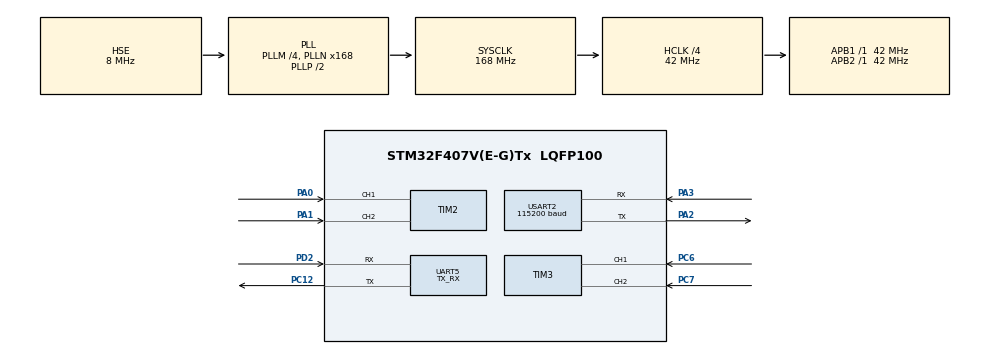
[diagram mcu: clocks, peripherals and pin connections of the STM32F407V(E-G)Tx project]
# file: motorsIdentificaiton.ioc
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Mcu.Family=STM32F4
Mcu.Name=STM32F407V(E-G)Tx
Mcu.Package=LQFP100
NVIC.PriorityGroup=NVIC_PRIORITYGROUP_4
NVIC.TIM8_TRG_COM_TIM14_IRQn=true\:0\:0\:false\:false\:true\:true\:true\:true
NVIC.TIM8_UP_TIM13_IRQn=true\:0\:0\:false\:false\:true\:true\:true\:true
PA0-WKUP.Signal=S_TIM2_CH1_ETR
PA1.Signal=S_TIM2_CH2
PA2.Mode=Asynchronous
PA2.Signal=USART2_TX
PA3.Mode=Asynchronous
PA3.Signal=USART2_RX
PC12.Mode=Asynchronous
PC12.Signal=UART5_TX
PC6.Signal=S_TIM3_CH1
PC7.Signal=S_TIM3_CH2
PD2.Mode=Asynchronous
PD2.Signal=UART5_RX
PH0-OSC_IN.Mode=HSE-External-Oscillator
PH0-OSC_IN.Signal=RCC_OSC_IN
PH1-OSC_OUT.Mode=HSE-External-Oscillator
PH1-OSC_OUT.Signal=RCC_OSC_OUT
ProjectManager.HeapSize=0x200
ProjectManager.StackSize=0x400
ProjectManager.TargetToolchain=STM32CubeIDE
RCC.48MHZClocksFreq_Value=84000000
RCC.AHBCLKDivider=RCC_SYSCLK_DIV4
RCC.AHBFreq_Value=42000000
RCC.APB1Freq_Value=42000000
RCC.APB1TimFreq_Value=42000000
RCC.APB2Freq_Value=42000000
RCC.APB2TimFreq_Value=42000000
RCC.CortexFreq_Value=42000000
RCC.HCLKFreq_Value=42000000
RCC.HSE_VALUE=8000000
RCC.HSI_VALUE=16000000
RCC.LSE_VALUE=32768
RCC.PLLM=4
RCC.PLLN=168
RCC.PLLSourceVirtual=RCC_PLLSOURCE_HSE
RCC.SYSCLKFreq_VALUE=168000000
RCC.SYSCLKSource=RCC_SYSCLKSOURCE_PLLCLK
RCC.VCOOutputFreq_Value=336000000
SH.S_TIM2_CH1_ETR.0=TIM2_CH1,Encoder_Interface
SH.S_TIM2_CH2.0=TIM2_CH2,Encoder_Interface
SH.S_TIM3_CH1.0=TIM3_CH1,Encoder_Interface
SH.S_TIM3_CH2.0=TIM3_CH2,Encoder_Interface
TIM13.Period=3000
TIM13.Prescaler=42000
TIM14.Period=2000
TIM14.Prescaler=42
TIM2.EncoderMode=TIM_ENCODERMODE_TI12
TIM3.EncoderMode=TIM_ENCODERMODE_TI12
TIM5.CounterMode=TIM_COUNTERMODE_DOWN
TIM5.Prescaler=42
TIM6.Period=65535
TIM6.Prescaler=42
TIM6.TIM_MasterOutputTrigger=TIM_TRGO_UPDATE
UART5.Mode=MODE_TX_RX
UART5.VirtualMode=Asynchronous
USART2.BaudRate=115200
USART2.VirtualMode=VM_ASYNC
VP_TIM13_VS_ClockSourceINT.Mode=Enable_Timer
VP_TIM14_VS_ClockSourceINT.Mode=Enable_Timer
VP_TIM5_VS_ClockSourceINT.Mode=Internal
VP_TIM6_VS_ClockSourceINT.Mode=Enable_Timer
board=custom

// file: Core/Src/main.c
/* USER CODE BEGIN Header */
/**
  ******************************************************************************
  * @file           : main.c
  * @brief          : Main program body
  ******************************************************************************
  * @attention
  *
  * Copyright (c) 2025 STMicroelectronics.
  * All rights reserved.
  *
  * This software is licensed under terms that can be found in the LICENSE file
  * in the root directory of this software component.
  * If no LICENSE file comes with this software, it is provided AS-IS.
  *
  ******************************************************************************
  */
/* USER CODE END Header */
#include "main.h"

/* USER CODE BEGIN Includes */
#include "encoders.h"
#include "qik_2s12v10_lib.h"

/* USER CODE END Includes */

TIM_HandleTypeDef htim2;
TIM_HandleTypeDef htim3;
TIM_HandleTypeDef htim5;
TIM_HandleTypeDef htim6;
TIM_HandleTypeDef htim13;
TIM_HandleTypeDef htim14;

UART_HandleTypeDef huart5;
UART_HandleTypeDef huart2;

/* USER CODE BEGIN PV */
uint8_t dirL = 0, dirR = 0;
//float encoderLvalues[10];
//float encoderRvalues[10];
//float temp, lSum=0, rSum=0, lSpeed, rSpeed;
//float integralL = 0, integralR = 0, previousLSpeed= 0, previousRSpeed=0;
int8_t leftCtrl = 0, rightCtrl = 0;
float fLCtrl = 0.0, fRCtrl = 0.0;
uint8_t Sspeed = 0;
/* USER CODE END PV */

void SystemClock_Config(void);
static void MX_GPIO_Init(void);
static void MX_TIM2_Init(void);
static void MX_TIM3_Init(void);
static void MX_TIM14_Init(void);
static void MX_UART5_Init(void);
static void MX_USART2_UART_Init(void);
static void MX_TIM5_Init(void);
static void MX_TIM6_Init(void);
static void MX_TIM13_Init(void);
/* USER CODE BEGIN PFP */
void statSpeed();
void timeResponse();
/* USER CODE END PFP */

int main(void)
{

  /* MCU Configuration--------------------------------------------------------*/

  /* Reset of all peripherals, Initializes the Flash interface and the Systick. */
  HAL_Init();

  /* Configure the system clock */
  SystemClock_Config();

  /* Initialize all configured peripherals */
  MX_GPIO_Init();
  MX_TIM2_Init();
  MX_TIM3_Init();
  MX_TIM14_Init();
  MX_UART5_Init();
  MX_USART2_UART_Init();
  MX_TIM5_Init();
  MX_TIM6_Init();
  MX_TIM13_Init();
  /* USER CODE BEGIN 2 */

  HAL_TIM_Encoder_Start(&htim2, TIM_CHANNEL_1);
  HAL_TIM_Encoder_Start(&htim2, TIM_CHANNEL_2);

  HAL_TIM_Encoder_Start(&htim3, TIM_CHANNEL_1);
  HAL_TIM_Encoder_Start(&htim3, TIM_CHANNEL_2);

  HAL_TIM_Base_Start_IT(&htim14);
  HAL_TIM_Base_Start_IT(&htim13);

  IIR3_Init(&lFilter, b, a);
  IIR3_Init(&rFilter, b, a);

  /* USER CODE END 2 */

  /* Infinite loop */
  while (1)
  {

  }
}

void SystemClock_Config(void)
{
  RCC_OscInitTypeDef RCC_OscInitStruct = {0};
  RCC_ClkInitTypeDef RCC_ClkInitStruct = {0};

  /** Configure the main internal regulator output voltage
  */
  __HAL_RCC_PWR_CLK_ENABLE();
  __HAL_PWR_VOLTAGESCALING_CONFIG(PWR_REGULATOR_VOLTAGE_SCALE1);

  /** Initializes the RCC Oscillators according to the specified parameters
  * in the RCC_OscInitTypeDef structure.
  */
  RCC_OscInitStruct.OscillatorType = RCC_OSCILLATORTYPE_HSE;
  RCC_OscInitStruct.HSEState = RCC_HSE_ON;
  RCC_OscInitStruct.PLL.PLLState = RCC_PLL_ON;
  RCC_OscInitStruct.PLL.PLLSource = RCC_PLLSOURCE_HSE;
  RCC_OscInitStruct.PLL.PLLM = 4;
  RCC_OscInitStruct.PLL.PLLN = 168;
  RCC_OscInitStruct.PLL.PLLP = RCC_PLLP_DIV2;
  RCC_OscInitStruct.PLL.PLLQ = 4;
  if (HAL_RCC_OscConfig(&RCC_OscInitStruct) != HAL_OK)
  {
    Error_Handler();
  }

  /** Initializes the CPU, AHB and APB buses clocks
  */
  RCC_ClkInitStruct.ClockType = RCC_CLOCKTYPE_HCLK|RCC_CLOCKTYPE_SYSCLK
                              |RCC_CLOCKTYPE_PCLK1|RCC_CLOCKTYPE_PCLK2;
  RCC_ClkInitStruct.SYSCLKSource = RCC_SYSCLKSOURCE_PLLCLK;
  RCC_ClkInitStruct.AHBCLKDivider = RCC_SYSCLK_DIV4;
  RCC_ClkInitStruct.APB1CLKDivider = RCC_HCLK_DIV1;
  RCC_ClkInitStruct.APB2CLKDivider = RCC_HCLK_DIV1;

  if (HAL_RCC_ClockConfig(&RCC_ClkInitStruct, FLASH_LATENCY_1) != HAL_OK)
  {
    Error_Handler();
  }
}

static void MX_TIM2_Init(void)
{

  TIM_Encoder_InitTypeDef sConfig = {0};
  TIM_MasterConfigTypeDef sMasterConfig = {0};

  htim2.Instance = TIM2;
  htim2.Init.Prescaler = 0;
  htim2.Init.CounterMode = TIM_COUNTERMODE_UP;
  htim2.Init.Period = 4294967295;
  htim2.Init.ClockDivision = TIM_CLOCKDIVISION_DIV1;
  htim2.Init.AutoReloadPreload = TIM_AUTORELOAD_PRELOAD_DISABLE;
  sConfig.EncoderMode = TIM_ENCODERMODE_TI12;
  sConfig.IC1Polarity = TIM_ICPOLARITY_RISING;
  sConfig.IC1Selection = TIM_ICSELECTION_DIRECTTI;
  sConfig.IC1Prescaler = TIM_ICPSC_DIV1;
  sConfig.IC1Filter = 0;
  sConfig.IC2Polarity = TIM_ICPOLARITY_RISING;
  sConfig.IC2Selection = TIM_ICSELECTION_DIRECTTI;
  sConfig.IC2Prescaler = TIM_ICPSC_DIV1;
  sConfig.IC2Filter = 0;
  if (HAL_TIM_Encoder_Init(&htim2, &sConfig) != HAL_OK)
  {
    Error_Handler();
  }
  sMasterConfig.MasterOutputTrigger = TIM_TRGO_RESET;
  sMasterConfig.MasterSlaveMode = TIM_MASTERSLAVEMODE_DISABLE;
  if (HAL_TIMEx_MasterConfigSynchronization(&htim2, &sMasterConfig) != HAL_OK)
  {
    Error_Handler();
  }

}

static void MX_TIM3_Init(void)
{

  TIM_Encoder_InitTypeDef sConfig = {0};
  TIM_MasterConfigTypeDef sMasterConfig = {0};

  htim3.Instance = TIM3;
  htim3.Init.Prescaler = 0;
  htim3.Init.CounterMode = TIM_COUNTERMODE_UP;
  htim3.Init.Period = 65535;
  htim3.Init.ClockDivision = TIM_CLOCKDIVISION_DIV1;
  htim3.Init.AutoReloadPreload = TIM_AUTORELOAD_PRELOAD_DISABLE;
  sConfig.EncoderMode = TIM_ENCODERMODE_TI12;
  sConfig.IC1Polarity = TIM_ICPOLARITY_RISING;
  sConfig.IC1Selection = TIM_ICSELECTION_DIRECTTI;
  sConfig.IC1Prescaler = TIM_ICPSC_DIV1;
  sConfig.IC1Filter = 0;
  sConfig.IC2Polarity = TIM_ICPOLARITY_RISING;
  sConfig.IC2Selection = TIM_ICSELECTION_DIRECTTI;
  sConfig.IC2Prescaler = TIM_ICPSC_DIV1;
  sConfig.IC2Filter = 0;
  if (HAL_TIM_Encoder_Init(&htim3, &sConfig) != HAL_OK)
  {
    Error_Handler();
  }
  sMasterConfig.MasterOutputTrigger = TIM_TRGO_RESET;
  sMasterConfig.MasterSlaveMode = TIM_MASTERSLAVEMODE_DISABLE;
  if (HAL_TIMEx_MasterConfigSynchronization(&htim3, &sMasterConfig) != HAL_OK)
  {
    Error_Handler();
  }

}

static void MX_TIM5_Init(void)
{

  TIM_ClockConfigTypeDef sClockSourceConfig = {0};
  TIM_MasterConfigTypeDef sMasterConfig = {0};

  htim5.Instance = TIM5;
  htim5.Init.Prescaler = 42;
  htim5.Init.CounterMode = TIM_COUNTERMODE_DOWN;
  htim5.Init.Period = 4294967295;
  htim5.Init.ClockDivision = TIM_CLOCKDIVISION_DIV1;
  htim5.Init.AutoReloadPreload = TIM_AUTORELOAD_PRELOAD_DISABLE;
  if (HAL_TIM_Base_Init(&htim5) != HAL_OK)
  {
    Error_Handler();
  }
  sClockSourceConfig.ClockSource = TIM_CLOCKSOURCE_INTERNAL;
  if (HAL_TIM_ConfigClockSource(&htim5, &sClockSourceConfig) != HAL_OK)
  {
    Error_Handler();
  }
  sMasterConfig.MasterOutputTrigger = TIM_TRGO_RESET;
  sMasterConfig.MasterSlaveMode = TIM_MASTERSLAVEMODE_DISABLE;
  if (HAL_TIMEx_MasterConfigSynchronization(&htim5, &sMasterConfig) != HAL_OK)
  {
    Error_Handler();
  }

}

static void MX_TIM6_Init(void)
{

  TIM_MasterConfigTypeDef sMasterConfig = {0};

  htim6.Instance = TIM6;
  htim6.Init.Prescaler = 42;
  htim6.Init.CounterMode = TIM_COUNTERMODE_UP;
  htim6.Init.Period = 65535;
  htim6.Init.AutoReloadPreload = TIM_AUTORELOAD_PRELOAD_DISABLE;
  if (HAL_TIM_Base_Init(&htim6) != HAL_OK)
  {
    Error_Handler();
  }
  sMasterConfig.MasterOutputTrigger = TIM_TRGO_UPDATE;
  sMasterConfig.MasterSlaveMode = TIM_MASTERSLAVEMODE_DISABLE;
  if (HAL_TIMEx_MasterConfigSynchronization(&htim6, &sMasterConfig) != HAL_OK)
  {
    Error_Handler();
  }

}

static void MX_TIM13_Init(void)
{

  htim13.Instance = TIM13;
  htim13.Init.Prescaler = 42000;
  htim13.Init.CounterMode = TIM_COUNTERMODE_UP;
  htim13.Init.Period = 3000;
  htim13.Init.ClockDivision = TIM_CLOCKDIVISION_DIV1;
  htim13.Init.AutoReloadPreload = TIM_AUTORELOAD_PRELOAD_DISABLE;
  if (HAL_TIM_Base_Init(&htim13) != HAL_OK)
  {
    Error_Handler();
  }

}

static void MX_TIM14_Init(void)
{

  htim14.Instance = TIM14;
  htim14.Init.Prescaler = 42;
  htim14.Init.CounterMode = TIM_COUNTERMODE_UP;
  htim14.Init.Period = 2000;
  htim14.Init.ClockDivision = TIM_CLOCKDIVISION_DIV1;
  htim14.Init.AutoReloadPreload = TIM_AUTORELOAD_PRELOAD_DISABLE;
  if (HAL_TIM_Base_Init(&htim14) != HAL_OK)
  {
    Error_Handler();
  }

}

static void MX_UART5_Init(void)
{

  huart5.Instance = UART5;
  huart5.Init.BaudRate = 115200;
  huart5.Init.WordLength = UART_WORDLENGTH_8B;
  huart5.Init.StopBits = UART_STOPBITS_1;
  huart5.Init.Parity = UART_PARITY_NONE;
  huart5.Init.Mode = UART_MODE_TX_RX;
  huart5.Init.HwFlowCtl = UART_HWCONTROL_NONE;
  huart5.Init.OverSampling = UART_OVERSAMPLING_16;
  if (HAL_UART_Init(&huart5) != HAL_OK)
  {
    Error_Handler();
  }

}

static void MX_USART2_UART_Init(void)
{

  huart2.Instance = USART2;
  huart2.Init.BaudRate = 115200;
  huart2.Init.WordLength = UART_WORDLENGTH_8B;
  huart2.Init.StopBits = UART_STOPBITS_1;
  huart2.Init.Parity = UART_PARITY_NONE;
  huart2.Init.Mode = UART_MODE_TX_RX;
  huart2.Init.HwFlowCtl = UART_HWCONTROL_NONE;
  huart2.Init.OverSampling = UART_OVERSAMPLING_16;
  if (HAL_UART_Init(&huart2) != HAL_OK)
  {
    Error_Handler();
  }

}

static void MX_GPIO_Init(void)
{

  /* GPIO Ports Clock Enable */
  __HAL_RCC_GPIOH_CLK_ENABLE();
  __HAL_RCC_GPIOA_CLK_ENABLE();
  __HAL_RCC_GPIOC_CLK_ENABLE();
  __HAL_RCC_GPIOD_CLK_ENABLE();

}

/* USER CODE BEGIN 4 */

void HAL_TIM_PeriodElapsedCallback(TIM_HandleTypeDef *htim)
{
  /* Prevent unused argument(s) compilation warning */

  if (htim->Instance == TIM14){
	  __HAL_TIM_SET_COUNTER(&htim6, 0);
	  HAL_TIM_Base_Start(&htim6);

	  // i must have speed variable
	  getEncoders(&htim2, &htim3);

//	  lSpeed = IIR3_Process(&lFilter, encoderLSpeed);
//	  rSpeed = IIR3_Process(&rFilter, encoderRSpeed);

	  // moving average needed (for low speeds)

	  // PID that eliminates the steady state error
	  rightCtrl = Sspeed;
	  leftCtrl = Sspeed;
	  fRCtrl= (float)rightCtrl;
	  fLCtrl= (float)leftCtrl;

	  RightMotorSpeed(&huart2, &rightCtrl, dirR);
	  LeftMotorSpeed(&huart2, &leftCtrl, dirL);

	  // (2 PIDs actually)

	  // print the results to the PC
	  HAL_UART_Transmit(&huart5, &encoderRSpeed, 4, 1);
	  HAL_UART_Transmit(&huart5, &encoderLSpeed, 4, 1);

	  HAL_UART_Transmit(&huart5, &fRCtrl, 4, 1);
	  HAL_UART_Transmit(&huart5, &fLCtrl, 4, 1);

	  HAL_TIM_Base_Stop(&htim6);
	  int cnt6 = __HAL_TIM_GET_COUNTER(&htim6);
  }

  if (htim->Instance == TIM13){
	  statSpeed();
//	  timeResponse();
  }

}

void statSpeed(){
	  Sspeed += 20;
	  if(Sspeed > 127){
		  Sspeed = 127;
	  }
}

void timeResponse(){
	if(Sspeed == 0){
		Sspeed = 80;
	}
	else{
		Sspeed = 0;
	}
}

/* USER CODE END 4 */

void Error_Handler(void)
{
  __disable_irq();
  while (1)
  {
  }
}
